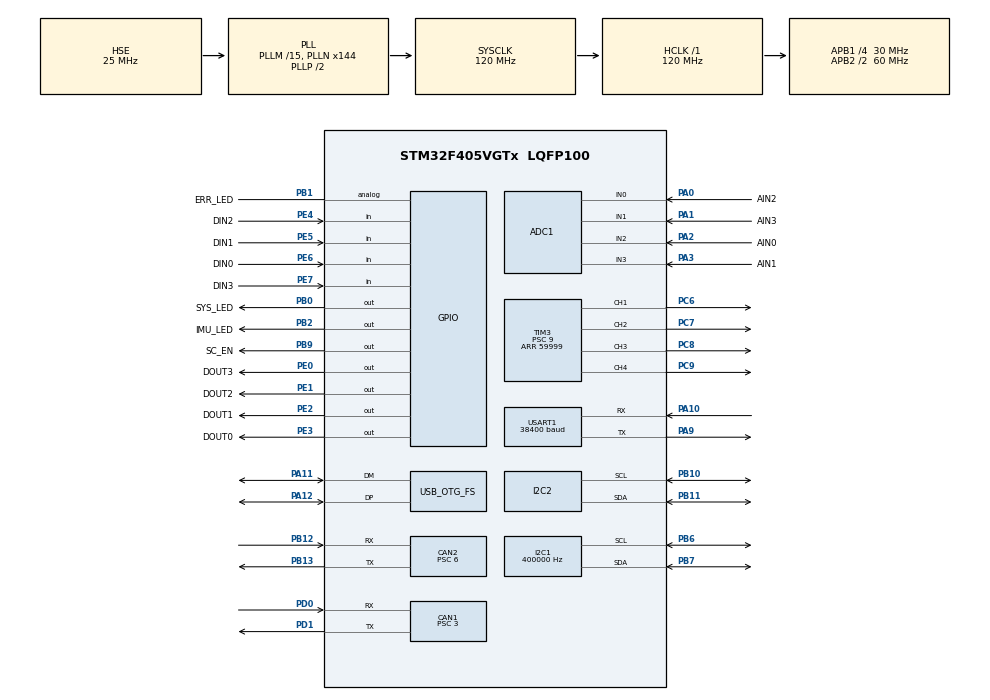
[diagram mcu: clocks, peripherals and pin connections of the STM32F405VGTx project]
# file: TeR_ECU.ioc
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ADC1.Channel-0\#ChannelRegularConversion=ADC_CHANNEL_2
ADC1.NbrOfConversionFlag=1
ADC1.Rank-0\#ChannelRegularConversion=1
ADC1.SamplingTime-0\#ChannelRegularConversion=ADC_SAMPLETIME_3CYCLES
ADC1.master=1
CAN1.ABOM=ENABLE
CAN1.BS1=CAN_BS1_8TQ
CAN1.CalculateBaudRate=1000000
CAN1.CalculateTimeBit=1000
CAN1.CalculateTimeQuantum=100.0
CAN1.Mode=CAN_MODE_NORMAL
CAN1.NART=ENABLE
CAN1.Prescaler=3
CAN2.ABOM=ENABLE
CAN2.BS1=CAN_BS1_8TQ
CAN2.CalculateBaudRate=500000
CAN2.CalculateTimeBit=2000
CAN2.CalculateTimeQuantum=200.0
CAN2.Mode=CAN_MODE_NORMAL
CAN2.NART=ENABLE
CAN2.Prescaler=6
Dma.Request0=USART1_RX
Dma.USART1_RX.0.Direction=DMA_PERIPH_TO_MEMORY
Dma.USART1_RX.0.FIFOMode=DMA_FIFOMODE_DISABLE
Dma.USART1_RX.0.Instance=DMA2_Stream2
Dma.USART1_RX.0.MemDataAlignment=DMA_MDATAALIGN_BYTE
Dma.USART1_RX.0.MemInc=DMA_MINC_ENABLE
Dma.USART1_RX.0.Mode=DMA_NORMAL
Dma.USART1_RX.0.PeriphDataAlignment=DMA_PDATAALIGN_BYTE
Dma.USART1_RX.0.PeriphInc=DMA_PINC_DISABLE
Dma.USART1_RX.0.Priority=DMA_PRIORITY_HIGH
FREERTOS.Mutexes01=g_can_scheduler_mutex,Dynamic,NULL,Available;sl_task_mutex,Dynamic,NULL,Available
FREERTOS.Queues01=rxMsg,128,canMsg_t,0,Dynamic,NULL,NULL
FREERTOS.Tasks01=osRunningTask,8,128,osRunning,Default,NULL,Dynamic,NULL,NULL;canRxTask,40,512,canRx,As external,NULL,Dynamic,NULL,NULL;invCanTxTask,43,512,invCanTx,As external,NULL,Dynamic,NULL,NULL;systemCriticalTask,40,256,systemCritical,As external,NULL,Dynamic,NULL,NULL;inertialTask,24,256,inertial,As external,NULL,Dynamic,NULL,NULL;gpsTask,8,256,gps,As external,NULL,Dynamic,NULL,NULL;trqManagerTask,40,256,trqManager,As external,NULL,Dynamic,NULL,NULL;stateMachineTask,40,256,stateMachine,As external,NULL,Dynamic,NULL,NULL;CanSchedulerTaskN,24,1024,CanSchedulerTask,As external,NULL,Dynamic,NULL,NULL;safetyLineTask,24,128,safetyLine,As external,NULL,Dynamic,NULL,NULL;dvStateMachineTask,40,512,dvStateMachine,As external,NULL,Dynamic,NULL,NULL
FREERTOS.Timers01=r2d_timer,r2d_timer_callback,osTimerOnce,As external,NULL,Dynamic,NULL;as_allowed_timer,as_allowed_timer_callback,osTimerOnce,As external,NULL,Dynamic,NULL;as_emergency_beep_timer,as_emergency_beep_timer_callback,osTimerPeriodic,As external,NULL,Dynamic,NULL;beep_timer,beep_timer_callback,osTimerOnce,As external,NULL,Dynamic,NULL;open_sl_cmd_timer,open_sl_cmd_timer_callback,osTimerPeriodic,As external,NULL,Dynamic,NULL
FREERTOS.configENABLE_FPU=1
FREERTOS.configGENERATE_RUN_TIME_STATS=1
FREERTOS.configMAX_TASK_NAME_LEN=20
FREERTOS.configRECORD_STACK_HIGH_ADDRESS=1
FREERTOS.configTOTAL_HEAP_SIZE=32768
FREERTOS.configUSE_IDLE_HOOK=1
FREERTOS.configUSE_NEWLIB_REENTRANT=1
FREERTOS.configUSE_STATS_FORMATTING_FUNCTIONS=1
I2C1.ClockSpeed=400000
I2C1.DutyCycle=I2C_DUTYCYCLE_16_9
I2C1.I2C_Mode=I2C_Fast
I2C2.I2C_Mode=I2C_Fast
IWDG.Prescaler=IWDG_PRESCALER_256
IWDG.Reload=2400
Mcu.Family=STM32F4
Mcu.Name=STM32F405VGTx
Mcu.Package=LQFP100
NVIC.CAN1_RX0_IRQn=true\:5\:0\:false\:false\:true\:true\:true\:true\:true
NVIC.CAN1_TX_IRQn=true\:5\:0\:false\:false\:true\:true\:true\:true\:true
NVIC.CAN2_RX0_IRQn=true\:5\:0\:false\:false\:true\:true\:true\:true\:true
NVIC.DMA2_Stream2_IRQn=true\:5\:0\:false\:true\:true\:2\:false\:false\:true\:true
NVIC.OTG_FS_IRQn=true\:5\:0\:false\:false\:true\:true\:false\:true\:true
NVIC.PriorityGroup=NVIC_PRIORITYGROUP_4
NVIC.TIM1_UP_TIM10_IRQn=true\:5\:0\:false\:false\:true\:false\:false\:true\:true
NVIC.TIM8_UP_TIM13_IRQn=true\:5\:0\:true\:false\:true\:true\:true\:true\:true
NVIC.TimeBase=TIM1_UP_TIM10_IRQn
NVIC.TimeBaseIP=TIM1
NVIC.USART1_IRQn=true\:5\:0\:true\:true\:true\:1\:true\:true\:true\:true
PA0-WKUP.GPIO_Label=AIN2
PA0-WKUP.Signal=ADCx_IN0
PA1.GPIO_Label=AIN3
PA1.Signal=ADCx_IN1
PA10.Mode=Asynchronous
PA10.Signal=USART1_RX
PA11.Mode=Device_Only
PA11.Signal=USB_OTG_FS_DM
PA12.Mode=Device_Only
PA12.Signal=USB_OTG_FS_DP
PA13.Mode=Serial_Wire
PA13.Signal=SYS_JTMS-SWDIO
PA14.Mode=Serial_Wire
PA14.Signal=SYS_JTCK-SWCLK
PA2.GPIO_Label=AIN0
PA2.Signal=ADCx_IN2
PA3.GPIO_Label=AIN1
PA3.Signal=ADCx_IN3
PA9.Mode=Asynchronous
PA9.Signal=USART1_TX
PB0.GPIO_Label=SYS_LED
PB0.Signal=GPIO_Output
PB1.GPIO_Label=ERR_LED
PB1.Signal=GPIO_Analog
PB10.Mode=I2C
PB10.Signal=I2C2_SCL
PB11.Mode=I2C
PB11.Signal=I2C2_SDA
PB12.Mode=CAN_Activate
PB12.Signal=CAN2_RX
PB13.Mode=CAN_Activate
PB13.Signal=CAN2_TX
PB2.GPIO_Label=IMU_LED
PB2.Signal=GPIO_Output
PB6.Mode=I2C
PB6.Signal=I2C1_SCL
PB7.Mode=I2C
PB7.Signal=I2C1_SDA
PB9.GPIO_Label=SC_EN
PB9.Signal=GPIO_Output
PC6.Signal=S_TIM3_CH1
PC7.Signal=S_TIM3_CH2
PC8.Signal=S_TIM3_CH3
PC9.Signal=S_TIM3_CH4
PD0.Mode=CAN_Activate
PD0.Signal=CAN1_RX
PD1.Mode=CAN_Activate
PD1.Signal=CAN1_TX
PE0.GPIO_Label=DOUT3
PE0.Signal=GPIO_Output
PE1.GPIO_Label=DOUT2
PE1.Signal=GPIO_Output
PE2.GPIO_Label=DOUT1
PE2.Signal=GPIO_Output
PE3.GPIO_Label=DOUT0
PE3.Signal=GPIO_Output
PE4.GPIO_Label=DIN2
PE4.GPIO_PuPd=GPIO_PULLDOWN
PE4.Signal=GPIO_Input
PE5.GPIO_Label=DIN1
PE5.GPIO_PuPd=GPIO_PULLDOWN
PE5.Signal=GPIO_Input
PE6.GPIO_Label=DIN0
PE6.GPIO_PuPd=GPIO_PULLDOWN
PE6.Signal=GPIO_Input
PE7.GPIO_Label=DIN3
PE7.GPIO_PuPd=GPIO_PULLDOWN
PE7.Signal=GPIO_Input
PH0-OSC_IN.Mode=HSE-External-Oscillator
PH0-OSC_IN.Signal=RCC_OSC_IN
PH1-OSC_OUT.Mode=HSE-External-Oscillator
PH1-OSC_OUT.Signal=RCC_OSC_OUT
ProjectManager.HeapSize=0x200
ProjectManager.StackSize=0x400
ProjectManager.TargetToolchain=Makefile
RCC.48MHZClocksFreq_Value=48000000
RCC.AHBFreq_Value=120000000
RCC.APB1CLKDivider=RCC_HCLK_DIV4
RCC.APB1Freq_Value=30000000
RCC.APB1TimFreq_Value=60000000
RCC.APB2CLKDivider=RCC_HCLK_DIV2
RCC.APB2Freq_Value=60000000
RCC.APB2TimFreq_Value=120000000
RCC.CortexFreq_Value=120000000
RCC.EnbaleCSS=true
RCC.HCLKFreq_Value=120000000
RCC.HSE_VALUE=25000000
RCC.HSI_VALUE=16000000
RCC.LSE_VALUE=32768
RCC.PLLM=15
RCC.PLLN=144
RCC.PLLQ=5
RCC.SYSCLKFreq_VALUE=120000000
RCC.SYSCLKSource=RCC_SYSCLKSOURCE_PLLCLK
RCC.USBFreq_Value=80000000
RCC.VCOOutputFreq_Value=240000000
SH.ADCx_IN0.0=ADC1_IN0,IN0
SH.ADCx_IN1.0=ADC1_IN1,IN1
SH.ADCx_IN2.0=ADC1_IN2,IN2
SH.ADCx_IN3.0=ADC1_IN3,IN3
SH.S_TIM3_CH1.0=TIM3_CH1,PWM Generation1 CH1
SH.S_TIM3_CH2.0=TIM3_CH2,PWM Generation2 CH2
SH.S_TIM3_CH3.0=TIM3_CH3,Output Compare3 CH3
SH.S_TIM3_CH4.0=TIM3_CH4,PWM Generation4 CH4
TIM3.AutoReloadPreload=TIM_AUTORELOAD_PRELOAD_ENABLE
TIM3.Channel-Output\ Compare3\ CH3=TIM_CHANNEL_3
TIM3.Channel-PWM\ Generation1\ CH1=TIM_CHANNEL_1
TIM3.Channel-PWM\ Generation2\ CH2=TIM_CHANNEL_2
TIM3.Channel-PWM\ Generation4\ CH4=TIM_CHANNEL_4
TIM3.OCFastMode_PWM-PWM\ Generation1\ CH1=TIM_OCFAST_ENABLE
TIM3.Period=59999
TIM3.Prescaler=9
TIM5.AutoReloadPreload=TIM_AUTORELOAD_PRELOAD_ENABLE
TIM5.Period=4294967295
TIM5.Prescaler=59999
USART1.BaudRate=38400
USART1.VirtualMode=VM_ASYNC
USB_DEVICE.CLASS_NAME_FS=CDC
USB_DEVICE.VirtualMode-CDC_FS=Cdc
USB_DEVICE.VirtualModeFS=Cdc_FS
USB_OTG_FS.VirtualMode=Device_Only
VP_FREERTOS_VS_CMSIS_V2.Mode=CMSIS_V2
VP_IWDG_VS_IWDG.Mode=IWDG_Activate
VP_SYS_VS_tim1.Mode=TIM1
VP_TIM13_VS_ClockSourceINT.Mode=Enable_Timer
VP_TIM3_VS_ClockSourceINT.Mode=Internal
VP_TIM5_VS_ClockSourceINT.Mode=Internal
VP_USB_DEVICE_VS_USB_DEVICE_CDC_FS.Mode=CDC_FS
board=custom

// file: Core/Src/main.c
/* USER CODE BEGIN Header */
/**
 ******************************************************************************
 * @file           : main.c
 * @brief          : Main program body
 ******************************************************************************
 * @attention
 *
 * Copyright (c) 2023 STMicroelectronics.
 * All rights reserved.
 *
 * This software is licensed under terms that can be found in the LICENSE file
 * in the root directory of this software component.
 * If no LICENSE file comes with this software, it is provided AS-IS.
 *
 ******************************************************************************
 */
/* USER CODE END Header */
#include "main.h"
#include "cmsis_os.h"
#include "adc.h"
#include "can.h"
#include "dma.h"
#include "i2c.h"
#include "iwdg.h"
#include "tim.h"
#include "usart.h"
#include "usb_device.h"
#include "gpio.h"

/* USER CODE BEGIN Includes */
#include "TeR_CAN.h"
#include "TeR_STATEMACHINE.h"
#include "usbd_cdc_if.h"
/* USER CODE END Includes */

void SystemClock_Config(void);
void MX_FREERTOS_Init(void);
static void MX_NVIC_Init(void);

int main(void)
{

  /* MCU Configuration--------------------------------------------------------*/

  /* Reset of all peripherals, Initializes the Flash interface and the Systick. */
  HAL_Init();

  /* Configure the system clock */
  SystemClock_Config();

  /* USER CODE BEGIN SysInit */
	/*Prevents  scs Timebase  from incrementing when hitting a braekpoint (No te da error despues de ver un breakpoint) */
	__HAL_DBGMCU_FREEZE_TIM5();
	__HAL_DBGMCU_FREEZE_IWDG();

  /* USER CODE END SysInit */

  /* Initialize all configured peripherals */
  MX_GPIO_Init();
  MX_DMA_Init();
  MX_CAN1_Init();
  MX_CAN2_Init();
  MX_TIM5_Init();
  MX_TIM13_Init();
  MX_IWDG_Init();
  MX_ADC1_Init();
  MX_I2C1_Init();
  MX_TIM3_Init();
  MX_USART1_UART_Init();
  MX_I2C2_Init();

  /* Initialize interrupts */
  MX_NVIC_Init();
  /* USER CODE BEGIN 2 */
	MX_USB_DEVICE_Init();

	initSCS(&htim5); //Arranca las systemCritical signals
	initCAN(&hcan2, &hcan1); //Arranca los can de inverters y main
  /* USER CODE END 2 */

  /* Init scheduler */
  osKernelInitialize();  /* Call init function for freertos objects (in cmsis_os2.c) */
  MX_FREERTOS_Init();

  /* Start scheduler */
  osKernelStart();

  /* We should never get here as control is now taken by the scheduler */

  /* Infinite loop */
	while (1) {

	}
}

void SystemClock_Config(void)
{
  RCC_OscInitTypeDef RCC_OscInitStruct = {0};
  RCC_ClkInitTypeDef RCC_ClkInitStruct = {0};

  /** Configure the main internal regulator output voltage
  */
  __HAL_RCC_PWR_CLK_ENABLE();
  __HAL_PWR_VOLTAGESCALING_CONFIG(PWR_REGULATOR_VOLTAGE_SCALE1);

  /** Initializes the RCC Oscillators according to the specified parameters
  * in the RCC_OscInitTypeDef structure.
  */
  RCC_OscInitStruct.OscillatorType = RCC_OSCILLATORTYPE_LSI|RCC_OSCILLATORTYPE_HSE;
  RCC_OscInitStruct.HSEState = RCC_HSE_ON;
  RCC_OscInitStruct.LSIState = RCC_LSI_ON;
  RCC_OscInitStruct.PLL.PLLState = RCC_PLL_ON;
  RCC_OscInitStruct.PLL.PLLSource = RCC_PLLSOURCE_HSE;
  RCC_OscInitStruct.PLL.PLLM = 15;
  RCC_OscInitStruct.PLL.PLLN = 144;
  RCC_OscInitStruct.PLL.PLLP = RCC_PLLP_DIV2;
  RCC_OscInitStruct.PLL.PLLQ = 5;
  if (HAL_RCC_OscConfig(&RCC_OscInitStruct) != HAL_OK)
  {
    Error_Handler();
  }

  /** Initializes the CPU, AHB and APB buses clocks
  */
  RCC_ClkInitStruct.ClockType = RCC_CLOCKTYPE_HCLK|RCC_CLOCKTYPE_SYSCLK
                              |RCC_CLOCKTYPE_PCLK1|RCC_CLOCKTYPE_PCLK2;
  RCC_ClkInitStruct.SYSCLKSource = RCC_SYSCLKSOURCE_PLLCLK;
  RCC_ClkInitStruct.AHBCLKDivider = RCC_SYSCLK_DIV1;
  RCC_ClkInitStruct.APB1CLKDivider = RCC_HCLK_DIV4;
  RCC_ClkInitStruct.APB2CLKDivider = RCC_HCLK_DIV2;

  if (HAL_RCC_ClockConfig(&RCC_ClkInitStruct, FLASH_LATENCY_3) != HAL_OK)
  {
    Error_Handler();
  }

  /** Enables the Clock Security System
  */
  HAL_RCC_EnableCSS();
}

/**
  * @brief NVIC Configuration.
  * @retval None
  */
static void MX_NVIC_Init(void)
{
  /* USART1_IRQn interrupt configuration */
  HAL_NVIC_SetPriority(USART1_IRQn, 5, 0);
  HAL_NVIC_EnableIRQ(USART1_IRQn);
  /* DMA2_Stream2_IRQn interrupt configuration */
  HAL_NVIC_SetPriority(DMA2_Stream2_IRQn, 5, 0);
  HAL_NVIC_EnableIRQ(DMA2_Stream2_IRQn);
}

/* USER CODE BEGIN 4 */
int _write(int file, char *ptr, int len) {
	CDC_Transmit_FS((uint8_t*) ptr, len);  // Send data via USB CDC
	return len;
}
/* USER CODE END 4 */

void HAL_TIM_PeriodElapsedCallback(TIM_HandleTypeDef *htim)
{
  if (htim->Instance == TIM1)
  {
    HAL_IncTick();
  }
}

void Error_Handler(void)
{
	__disable_irq();
	while (1) {
	}
}

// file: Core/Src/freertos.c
/* USER CODE BEGIN Header */
/**
 ******************************************************************************
 * File Name          : freertos.c
 * Description        : Code for freertos applications
 ******************************************************************************
 * @attention
 *
 * Copyright (c) 2024 STMicroelectronics.
 * All rights reserved.
 *
 * This software is licensed under terms that can be found in the LICENSE file
 * in the root directory of this software component.
 * If no LICENSE file comes with this software, it is provided AS-IS.
 *
 *
 *
 *
 ******************************************************************************
 */
/* USER CODE END Header */

#include "FreeRTOS.h"
#include "task.h"
#include "main.h"
#include "cmsis_os.h"

/* USER CODE BEGIN Includes */
#include "TeR_CAN.h"
#include "TeR_STATEMACHINE.h"
#include "TeR_DV_STATEMACHINE.h"
/* USER CODE END Includes */

/* USER CODE BEGIN Variables */
extern TIM_HandleTypeDef htim13;
extern IWDG_HandleTypeDef hiwdg;
/* USER CODE END Variables */
/* Definitions for osRunningTask */
osThreadId_t osRunningTaskHandle;
const osThreadAttr_t osRunningTask_attributes = {
  .name = "osRunningTask",
  .stack_size = 128 * 4,
  .priority = (osPriority_t) osPriorityLow,
};
/* Definitions for canRxTask */
osThreadId_t canRxTaskHandle;
const osThreadAttr_t canRxTask_attributes = {
  .name = "canRxTask",
  .stack_size = 512 * 4,
  .priority = (osPriority_t) osPriorityHigh,
};
/* Definitions for invCanTxTask */
osThreadId_t invCanTxTaskHandle;
const osThreadAttr_t invCanTxTask_attributes = {
  .name = "invCanTxTask",
  .stack_size = 512 * 4,
  .priority = (osPriority_t) osPriorityHigh3,
};
/* Definitions for systemCriticalTask */
osThreadId_t systemCriticalTaskHandle;
const osThreadAttr_t systemCriticalTask_attributes = {
  .name = "systemCriticalTask",
  .stack_size = 256 * 4,
  .priority = (osPriority_t) osPriorityHigh,
};
/* Definitions for inertialTask */
osThreadId_t inertialTaskHandle;
const osThreadAttr_t inertialTask_attributes = {
  .name = "inertialTask",
  .stack_size = 256 * 4,
  .priority = (osPriority_t) osPriorityNormal,
};
/* Definitions for gpsTask */
osThreadId_t gpsTaskHandle;
const osThreadAttr_t gpsTask_attributes = {
  .name = "gpsTask",
  .stack_size = 256 * 4,
  .priority = (osPriority_t) osPriorityLow,
};
/* Definitions for trqManagerTask */
osThreadId_t trqManagerTaskHandle;
const osThreadAttr_t trqManagerTask_attributes = {
  .name = "trqManagerTask",
  .stack_size = 256 * 4,
  .priority = (osPriority_t) osPriorityHigh,
};
/* Definitions for stateMachineTask */
osThreadId_t stateMachineTaskHandle;
const osThreadAttr_t stateMachineTask_attributes = {
  .name = "stateMachineTask",
  .stack_size = 256 * 4,
  .priority = (osPriority_t) osPriorityHigh,
};
/* Definitions for CanSchedulerTaskN */
osThreadId_t CanSchedulerTaskNHandle;
const osThreadAttr_t CanSchedulerTaskN_attributes = {
  .name = "CanSchedulerTaskN",
  .stack_size = 1024 * 4,
  .priority = (osPriority_t) osPriorityNormal,
};
/* Definitions for safetyLineTask */
osThreadId_t safetyLineTaskHandle;
const osThreadAttr_t safetyLineTask_attributes = {
  .name = "safetyLineTask",
  .stack_size = 128 * 4,
  .priority = (osPriority_t) osPriorityNormal,
};
/* Definitions for dvStateMachineTask */
osThreadId_t dvStateMachineTaskHandle;
const osThreadAttr_t dvStateMachineTask_attributes = {
  .name = "dvStateMachineTask",
  .stack_size = 512 * 4,
  .priority = (osPriority_t) osPriorityHigh,
};
/* Definitions for rxMsg */
osMessageQueueId_t rxMsgHandle;
const osMessageQueueAttr_t rxMsg_attributes = {
  .name = "rxMsg"
};
/* Definitions for r2d_timer */
osTimerId_t r2d_timerHandle;
const osTimerAttr_t r2d_timer_attributes = {
  .name = "r2d_timer"
};
/* Definitions for as_allowed_timer */
osTimerId_t as_allowed_timerHandle;
const osTimerAttr_t as_allowed_timer_attributes = {
  .name = "as_allowed_timer"
};
/* Definitions for as_emergency_beep_timer */
osTimerId_t as_emergency_beep_timerHandle;
const osTimerAttr_t as_emergency_beep_timer_attributes = {
  .name = "as_emergency_beep_timer"
};
/* Definitions for beep_timer */
osTimerId_t beep_timerHandle;
const osTimerAttr_t beep_timer_attributes = {
  .name = "beep_timer"
};
/* Definitions for open_sl_cmd_timer */
osTimerId_t open_sl_cmd_timerHandle;
const osTimerAttr_t open_sl_cmd_timer_attributes = {
  .name = "open_sl_cmd_timer"
};
/* Definitions for g_can_scheduler_mutex */
osMutexId_t g_can_scheduler_mutexHandle;
const osMutexAttr_t g_can_scheduler_mutex_attributes = {
  .name = "g_can_scheduler_mutex"
};
/* Definitions for sl_task_mutex */
osMutexId_t sl_task_mutexHandle;
const osMutexAttr_t sl_task_mutex_attributes = {
  .name = "sl_task_mutex"
};

void osRunning(void *argument);
extern void canRx(void *argument);
extern void invCanTx(void *argument);
extern void systemCritical(void *argument);
extern void inertial(void *argument);
extern void gps(void *argument);
extern void trqManager(void *argument);
extern void stateMachine(void *argument);
extern void CanSchedulerTask(void *argument);
extern void safetyLine(void *argument);
extern void dvStateMachine(void *argument);
extern void r2d_timer_callback(void *argument);
extern void as_allowed_timer_callback(void *argument);
extern void as_emergency_beep_timer_callback(void *argument);
extern void beep_timer_callback(void *argument);
extern void open_sl_cmd_timer_callback(void *argument);

extern void MX_USB_DEVICE_Init(void);
void MX_FREERTOS_Init(void); /* (MISRA C 2004 rule 8.1) */

/* Hook prototypes */
void configureTimerForRunTimeStats(void);
unsigned long getRunTimeCounterValue(void);
void vApplicationIdleHook(void);

/* USER CODE BEGIN 1 */
/* Functions needed when configGENERATE_RUN_TIME_STATS is on */
__weak void configureTimerForRunTimeStats(void) {
	HAL_TIM_Base_Start_IT(&htim13);
}
extern volatile unsigned long ulHighFrequencyTimerTicks;
__weak unsigned long getRunTimeCounterValue(void) {
	return ulHighFrequencyTimerTicks;
}
/* USER CODE END 1 */

/* USER CODE BEGIN 2 */
void vApplicationIdleHook(void) {
	/* vApplicationIdleHook() will only be called if configUSE_IDLE_HOOK is set
	 to 1 in FreeRTOSConfig.h. It will be called on each iteration of the idle
	 task. It is essential that code added to this hook function never attempts
	 to block in any way (for example, call xQueueReceive() with a block time
	 specified, or call vTaskDelay()). If the application makes use of the
	 vTaskDelete() API function (as this demo application does) then it is also
	 important that vApplicationIdleHook() is permitted to return to its calling
	 function, because it is the responsibility of the idle task to clean up
	 memory allocated by the kernel to any task that has since been deleted. */
	HAL_IWDG_Refresh(&hiwdg);
}
/* USER CODE END 2 */

void MX_FREERTOS_Init(void) {
  /* Create the mutex(es) */
  /* creation of g_can_scheduler_mutex */
  g_can_scheduler_mutexHandle = osMutexNew(&g_can_scheduler_mutex_attributes);

  /* creation of sl_task_mutex */
  sl_task_mutexHandle = osMutexNew(&sl_task_mutex_attributes);

  /* Create the timer(s) */
  /* creation of r2d_timer */
  r2d_timerHandle = osTimerNew(r2d_timer_callback, osTimerOnce, NULL, &r2d_timer_attributes);

  /* creation of as_allowed_timer */
  as_allowed_timerHandle = osTimerNew(as_allowed_timer_callback, osTimerOnce, NULL, &as_allowed_timer_attributes);

  /* creation of as_emergency_beep_timer */
  as_emergency_beep_timerHandle = osTimerNew(as_emergency_beep_timer_callback, osTimerPeriodic, NULL, &as_emergency_beep_timer_attributes);

  /* creation of beep_timer */
  beep_timerHandle = osTimerNew(beep_timer_callback, osTimerOnce, NULL, &beep_timer_attributes);

  /* creation of open_sl_cmd_timer */
  open_sl_cmd_timerHandle = osTimerNew(open_sl_cmd_timer_callback, osTimerPeriodic, NULL, &open_sl_cmd_timer_attributes);

  /* Create the queue(s) */
  /* creation of rxMsg */
  rxMsgHandle = osMessageQueueNew (128, sizeof(canMsg_t), &rxMsg_attributes);

  /* Create the thread(s) */
  /* creation of osRunningTask */
  osRunningTaskHandle = osThreadNew(osRunning, NULL, &osRunningTask_attributes);

  /* creation of canRxTask */
  canRxTaskHandle = osThreadNew(canRx, NULL, &canRxTask_attributes);

  /* creation of invCanTxTask */
  invCanTxTaskHandle = osThreadNew(invCanTx, NULL, &invCanTxTask_attributes);

  /* creation of systemCriticalTask */
  systemCriticalTaskHandle = osThreadNew(systemCritical, NULL, &systemCriticalTask_attributes);

  /* creation of inertialTask */
  inertialTaskHandle = osThreadNew(inertial, NULL, &inertialTask_attributes);

  /* creation of gpsTask */
  gpsTaskHandle = osThreadNew(gps, NULL, &gpsTask_attributes);

  /* creation of trqManagerTask */
  trqManagerTaskHandle = osThreadNew(trqManager, NULL, &trqManagerTask_attributes);

  /* creation of stateMachineTask */
  stateMachineTaskHandle = osThreadNew(stateMachine, NULL, &stateMachineTask_attributes);

  /* creation of CanSchedulerTaskN */
  CanSchedulerTaskNHandle = osThreadNew(CanSchedulerTask, NULL, &CanSchedulerTaskN_attributes);

  /* creation of safetyLineTask */
  safetyLineTaskHandle = osThreadNew(safetyLine, NULL, &safetyLineTask_attributes);

  /* creation of dvStateMachineTask */
  dvStateMachineTaskHandle = osThreadNew(dvStateMachine, NULL, &dvStateMachineTask_attributes);

}

void osRunning(void *argument)
{
  /* init code for USB_DEVICE */
  MX_USB_DEVICE_Init();
  /* USER CODE BEGIN osRunning */
	/* Infinite loop */
	for (;;) {
		osDelay(100);
		HAL_GPIO_TogglePin(SYS_LED_GPIO_Port, SYS_LED_Pin);// Toggle Alive indication
	}
  /* USER CODE END osRunning */
}
